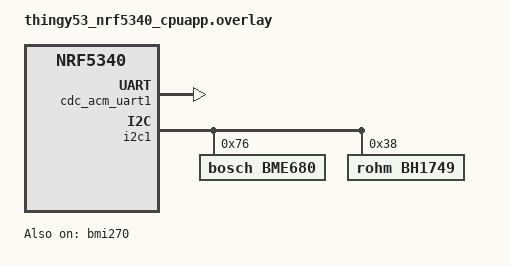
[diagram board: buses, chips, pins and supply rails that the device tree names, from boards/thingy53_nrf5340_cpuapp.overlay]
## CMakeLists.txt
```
#
# Copyright (c) 2018 Nordic Semiconductor
#
# SPDX-License-Identifier: LicenseRef-Nordic-5-Clause
#
cmake_minimum_required(VERSION 3.20.0)

find_package(Zephyr REQUIRED HINTS $ENV{ZEPHYR_BASE})
project(NONE)

# NORDIC SDK APP START
target_sources(app PRIVATE
  src/main.c
  src/bme_sensor.c
  src/bh1749.c
  src/bmi270.c
  src/adxl362.c
)

# NORDIC SDK APP END
```

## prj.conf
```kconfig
#
# Copyright (c) 2018 Nordic Semiconductor
# SPDX-License-Identifier: LicenseRef-Nordic-5-Clause
#

# ================= UART / CONSOLE =================
CONFIG_SERIAL=y
CONFIG_CONSOLE=y
CONFIG_UART_CONSOLE=y
CONFIG_UART_ASYNC_API=y
CONFIG_NRFX_UARTE0=y

# ================= GPIO =================
CONFIG_GPIO=y

# ================= Memory =================
CONFIG_HEAP_MEM_POOL_SIZE=2048
CONFIG_SYSTEM_WORKQUEUE_STACK_SIZE=4096

# ================= Bluetooth Low Energy (BLE) =================
CONFIG_BT=y
CONFIG_BT_PERIPHERAL=y
CONFIG_BT_DEVICE_NAME="left_insole"
CONFIG_BT_NUS=y

# ================= Bluetooth Settings & Storage =================
CONFIG_BT_SETTINGS=y
CONFIG_SETTINGS=y
CONFIG_FLASH=y
CONFIG_FLASH_PAGE_LAYOUT=y
CONFIG_FLASH_MAP=y

# ================= DK Library (Buttons/LEDs) =================
CONFIG_DK_LIBRARY=y

# ================= Logging (RTT Backend) =================
CONFIG_LOG=y
CONFIG_LOG_BACKEND_UART=n
CONFIG_LOG_PRINTK=y
CONFIG_USE_SEGGER_RTT=y
CONFIG_LOG_BACKEND_RTT=y
CONFIG_ASSERT=y

# ================= MCUboot & MCUmgr (DFU/OTA) =================
CONFIG_BOOTLOADER_MCUBOOT=y
CONFIG_IS_BOOTLOADER=y
CONFIG_MCUMGR=y
CONFIG_MCUMGR_TRANSPORT_BT=y
CONFIG_MCUMGR_LOG_LEVEL_DBG=y
CONFIG_IMG_MANAGER=y
CONFIG_MCUMGR_GRP_IMG=y
CONFIG_MCUMGR_GRP_OS=y

# ================= Sensors - I2C =================
CONFIG_I2C=y
CONFIG_SENSOR=y
CONFIG_BME680=y
CONFIG_BH1749=y
CONFIG_BH1749_TRIGGER=y

# ================= Sensors - SPI (ADXL362) =================
CONFIG_SPI_RTIO=y
CONFIG_SENSOR_ASYNC_API=y
CONFIG_ADXL362_STREAM=y
CONFIG_ADXL362_ACCEL_ODR_400=y

# ================= Build Configuration =================
CONFIG_BUILD_OUTPUT_META=n
```

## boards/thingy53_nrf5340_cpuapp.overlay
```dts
/*
 * Copyright (c) 2021 Nordic Semiconductor ASA
 *
 * SPDX-License-Identifier: LicenseRef-Nordic-5-Clause
 */

/ {
	chosen {
		nordic,nus-uart = &cdc_acm_uart1;
	};
};

&zephyr_udc0 {
	cdc_acm_uart1: cdc_acm_uart1 {
		compatible = "zephyr,cdc-acm-uart";
	};
};

&i2c1 {
	status = "okay";

	bme680: bme680@76 {
		compatible = "bosch,bme680";
		reg = <0x76>;
		status = "okay";
	};

	bh1749: bh1749@38 {
		compatible = "rohm,bh1749";
		reg = <0x38>;
		status = "okay";
	};
};

/* Enable BMI270 sensor on SPI (already defined in base device tree) */
&bmi270 {
	status = "okay";
};
```

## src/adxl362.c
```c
/*
 * Copyright (c) 2022 TOKITA Hiroshi <tokita.hiroshi@fujitsu.com
 *
 * SPDX-License-Identifier: Apache-2.0
 */

#include "adxl362.h"
#include <zephyr/kernel.h>
#include <zephyr/device.h>
#include <zephyr/devicetree.h>
#include <zephyr/drivers/sensor.h>
#include <zephyr/logging/log.h>
#include <stdio.h>

LOG_MODULE_REGISTER(adxl362_sensor, LOG_LEVEL_INF);

/* Sample interval in milliseconds */
#define ADXL362_SAMPLE_INTERVAL_MS 8000

/* Check if ADXL362 sensor is available in device tree */
#if DT_HAS_COMPAT_STATUS_OKAY(adi_adxl362)
#define ADXL362_SENSOR_AVAILABLE 1
#else
#define ADXL362_SENSOR_AVAILABLE 0
#endif

#if ADXL362_SENSOR_AVAILABLE

static const struct device *adxl362_dev;
static adxl362_sensor_ble_send_cb ble_send_callback;

void adxl362_sensor_set_ble_callback(adxl362_sensor_ble_send_cb callback)
{
	ble_send_callback = callback;
}

int adxl362_sensor_init(void)
{
	int ret;
	struct sensor_value odr;

	adxl362_dev = DEVICE_DT_GET_ONE(adi_adxl362);

	if (!device_is_ready(adxl362_dev)) {
		LOG_ERR("ADXL362 sensor not ready");
		printk("ADXL362 sensor not ready\n");
		return -ENODEV;
	}

	/* Set sampling frequency */
	ret = sensor_attr_get(adxl362_dev, SENSOR_CHAN_ACCEL_XYZ, SENSOR_ATTR_SAMPLING_FREQUENCY, &odr);

	/* If we don't get a frequency > 0, we set one */
	if (ret != 0 || (odr.val1 == 0 && odr.val2 == 0)) {
		odr.val1 = 100;
		odr.val2 = 0;

		ret = sensor_attr_set(adxl362_dev, SENSOR_CHAN_ACCEL_XYZ, SENSOR_ATTR_SAMPLING_FREQUENCY, &odr);

		if (ret != 0) {
			LOG_WRN("Failed to set sampling frequency");
		}
	}

	LOG_INF("ADXL362 accelerometer sensor initialized successfully");
	printk("ADXL362 sensor initialized: %s\n", adxl362_dev->name);
	return 0;
}

int adxl362_sensor_read(struct adxl362_sensor_data *data)
{
	int ret;

	if (!adxl362_dev) {
		printk("❌ ADXL362 sensor not initialized\n");
		return -EINVAL;
	}

	if (!data) {
		return -EINVAL;
	}

	/* Fetch all sensor data */
	ret = sensor_sample_fetch(adxl362_dev);
	if (ret) {
		LOG_ERR("Failed to fetch sensor data: %d", ret);
		return ret;
	}

	/* Read accelerometer X axis */
	ret = sensor_channel_get(adxl362_dev, SENSOR_CHAN_ACCEL_X, &data->accel_x);
	if (ret) {
		LOG_ERR("Failed to get ACCEL_X: %d", ret);
		return ret;
	}

	/* Read accelerometer Y axis */
	ret = sensor_channel_get(adxl362_dev, SENSOR_CHAN_ACCEL_Y, &data->accel_y);
	if (ret) {
		LOG_ERR("Failed to get ACCEL_Y: %d", ret);
		return ret;
	}

	/* Read accelerometer Z axis */
	ret = sensor_channel_get(adxl362_dev, SENSOR_CHAN_ACCEL_Z, &data->accel_z);
	if (ret) {
		LOG_ERR("Failed to get ACCEL_Z: %d", ret);
		return ret;
	}

	return 0;
}

void adxl362_sensor_log_data(const struct adxl362_sensor_data *data)
{
	if (!data) {
		return;
	}

	printk("ADXL362: X=%d.%02d Y=%d.%02d Z=%d.%02d m/s^2\n",
		data->accel_x.val1, abs(data->accel_x.val2 / 10000),
		data->accel_y.val1, abs(data->accel_y.val2 / 10000),
		data->accel_z.val1, abs(data->accel_z.val2 / 10000));
}

int adxl362_sensor_start(void)
{
	int ret;

	if (!adxl362_dev) {
		printk("ADXL362 sensor not initialized\n");
		return -EINVAL;
	}

	LOG_INF("Starting ADXL362 sensor");
	printk("Starting ADXL362 accelerometer sensor thread...\n");

	/* Initial delay to allow sensor stabilization */
	k_sleep(K_SECONDS(2));
	printk("ADXL362 sensor stabilization complete\n");

	LOG_INF("ADXL362 sensor running in polling mode");
	printk("ADXL362 sensor running in polling mode (8s interval)\n");
	
	while (1) {
		struct adxl362_sensor_data data;

		printk("Reading ADXL362 accelerometer data...\n");
		if (adxl362_sensor_read(&data) == 0) {
			printk("Sensor read successful, logging/sending...\n");
			/* Log sensor data to console */
			adxl362_sensor_log_data(&data);

			/* Send data over BLE if callback is registered */
			if (ble_send_callback) {
				char ble_msg[128];
				int len = snprintf(ble_msg, sizeof(ble_msg),
					"X:%d.%02d Y:%d.%02d Z:%d.%02d m/s^2\n",
					data.accel_x.val1, abs(data.accel_x.val2 / 10000),
					data.accel_y.val1, abs(data.accel_y.val2 / 10000),
					data.accel_z.val1, abs(data.accel_z.val2 / 10000));
				
				if (len > 0 && len < sizeof(ble_msg)) {
					ble_send_callback((const uint8_t *)ble_msg, len);
				}
			}
		} else {
			printk("Sensor read failed\n");
		}

		k_sleep(K_MSEC(ADXL362_SAMPLE_INTERVAL_MS));
	}

	return 0;
}

#else /* !ADXL362_SENSOR_AVAILABLE */

/* Stub implementations when sensor is not available */

void adxl362_sensor_set_ble_callback(adxl362_sensor_ble_send_cb callback)
{
	ARG_UNUSED(callback);
}

int adxl362_sensor_init(void)
{
	LOG_WRN("ADXL362 sensor not available in device tree");
	return -ENOTSUP;
}

int adxl362_sensor_read(struct adxl362_sensor_data *data)
{
	ARG_UNUSED(data);
	return -ENOTSUP;
}

void adxl362_sensor_log_data(const struct adxl362_sensor_data *data)
{
	ARG_UNUSED(data);
}

int adxl362_sensor_start(void)
{
	LOG_WRN("ADXL362 sensor not available");
	return -ENOTSUP;
}

#endif /* ADXL362_SENSOR_AVAILABLE */
```

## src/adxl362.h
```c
/*
 * Copyright (c) 2023 Nordic Semiconductor ASA.
 *
 * SPDX-License-Identifier: LicenseRef-Nordic-5-Clause
 */

#ifndef ADXL362_SENSOR_H_
#define ADXL362_SENSOR_H_

#include <zephyr/device.h>
#include <zephyr/drivers/sensor.h>

/**
 * @brief Structure to hold all ADXL362 sensor readings (3-axis accelerometer)
 */
struct adxl362_sensor_data {
	struct sensor_value accel_x;
	struct sensor_value accel_y;
	struct sensor_value accel_z;
};

/**
 * @brief Callback function type for sending sensor data via BLE
 * 
 * @param data Pointer to buffer containing formatted sensor data
 * @param len Length of data to send
 * @return 0 on success, negative error code on failure
 */
typedef int (*adxl362_sensor_ble_send_cb)(const uint8_t *data, uint16_t len);

/**
 * @brief Set the BLE send callback function
 * 
 * @param callback Function to call when sending data via BLE
 */
void adxl362_sensor_set_ble_callback(adxl362_sensor_ble_send_cb callback);

/**
 * @brief Initialize the ADXL362 accelerometer sensor
 * 
 * @return 0 on success, negative error code on failure
 */
int adxl362_sensor_init(void);

/**
 * @brief Read all sensor data from the ADXL362
 * 
 * @param data Pointer to structure to store sensor readings
 * @return 0 on success, negative error code on failure
 */
int adxl362_sensor_read(struct adxl362_sensor_data *data);

/**
 * @brief Log all sensor data
 * 
 * @param data Pointer to sensor data to log
 */
void adxl362_sensor_log_data(const struct adxl362_sensor_data *data);

/**
 * @brief Start the ADXL362 sensor operation
 * 
 * This function will block and continuously read sensor data at regular intervals.
 * It should be called from a dedicated thread.
 * 
 * @return 0 on success, negative error code on failure
 */
int adxl362_sensor_start(void);

#endif /* ADXL362_SENSOR_H_ */
```

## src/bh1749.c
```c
/*
 * Copyright (c) 2019 Nordic Semiconductor ASA.
 *
 * SPDX-License-Identifier: LicenseRef-Nordic-5-Clause
 */

#include "bh1749.h"
#include <zephyr/kernel.h>
#include <zephyr/device.h>
#include <zephyr/devicetree.h>
#include <zephyr/drivers/sensor.h>
#include <zephyr/logging/log.h>
#include <stdio.h>

LOG_MODULE_REGISTER(bh1749_sensor, LOG_LEVEL_INF);

/* Sample interval in milliseconds */
#define BH1749_SAMPLE_INTERVAL_MS 14000

/* Check if BH1749 sensor is available in device tree */
#if DT_HAS_COMPAT_STATUS_OKAY(rohm_bh1749)
#define BH1749_SENSOR_AVAILABLE 1
#else
#define BH1749_SENSOR_AVAILABLE 0
#endif

#if BH1749_SENSOR_AVAILABLE

static const struct device *bh1749_dev;
static bh1749_sensor_ble_send_cb ble_send_callback;

void bh1749_sensor_set_ble_callback(bh1749_sensor_ble_send_cb callback)
{
	ble_send_callback = callback;
}

int bh1749_sensor_init(void)
{
	bh1749_dev = DEVICE_DT_GET_ONE(rohm_bh1749);

	if (!device_is_ready(bh1749_dev)) {
		LOG_ERR("BH1749 sensor not ready");
		printk("BH1749 sensor not ready\n");
		return -ENODEV;
	}

	LOG_INF("BH1749 color sensor initialized successfully");
	printk("BH1749 sensor initialized: %s\n", bh1749_dev->name);
	return 0;
}

int bh1749_sensor_read(struct bh1749_sensor_data *data)
{
	int ret;

	if (!bh1749_dev) {
		printk("BH1749 sensor not initialized\n");
		return -EINVAL;
	}

	if (!data) {
		return -EINVAL;
	}

	/* Fetch all sensor data */
	ret = sensor_sample_fetch_chan(bh1749_dev, SENSOR_CHAN_ALL);
	if (ret) {
		LOG_ERR("Failed to fetch sensor data: %d", ret);
		return ret;
	}

	/* Read RED channel */
	ret = sensor_channel_get(bh1749_dev, SENSOR_CHAN_RED, &data->red);
	if (ret) {
		LOG_ERR("Failed to get RED channel: %d", ret);
		return ret;
	}

	/* Read GREEN channel */
	ret = sensor_channel_get(bh1749_dev, SENSOR_CHAN_GREEN, &data->green);
	if (ret) {
		LOG_ERR("Failed to get GREEN channel: %d", ret);
		return ret;
	}

	/* Read BLUE channel */
	ret = sensor_channel_get(bh1749_dev, SENSOR_CHAN_BLUE, &data->blue);
	if (ret) {
		LOG_ERR("Failed to get BLUE channel: %d", ret);
		return ret;
	}

	/* Read IR channel */
	ret = sensor_channel_get(bh1749_dev, SENSOR_CHAN_IR, &data->ir);
	if (ret) {
		LOG_ERR("Failed to get IR channel: %d", ret);
		return ret;
	}

	return 0;
}

void bh1749_sensor_log_data(const struct bh1749_sensor_data *data)
{
	if (!data) {
		return;
	}

	printk("BH1749: R=%d, G=%d, B=%d, IR=%d\n",
		data->red.val1,
		data->green.val1,
		data->blue.val1,
		data->ir.val1);
}

int bh1749_sensor_start(void)
{
	int ret;

	if (!bh1749_dev) {
		printk("BH1749 sensor not initialized\n");
		return -EINVAL;
	}

	LOG_INF("Starting BH1749 sensor");
	printk("Starting BH1749 color sensor thread...\n");

	/* Initial delay to allow sensor stabilization */
	k_sleep(K_SECONDS(2));
	printk("BH1749 sensor stabilization complete\n");

	LOG_INF("BH1749 sensor running in polling mode");
	printk("BH1749 sensor running in polling mode (10s interval)\n");
	
	while (1) {
		struct bh1749_sensor_data data;

		printk("Reading BH1749 color sensor data...\n");
		if (bh1749_sensor_read(&data) == 0) {
			printk("Sensor read successful, logging/sending...\n");
			/* Log sensor data to console */
			bh1749_sensor_log_data(&data);

			/* Send data over BLE if callback is registered */
			if (ble_send_callback) {
				char ble_msg[128];
				int len = snprintf(ble_msg, sizeof(ble_msg),
					"R:%d G:%d B:%d IR:%d\n",
					data.red.val1,
					data.green.val1,
					data.blue.val1,
					data.ir.val1);
				
				if (len > 0 && len < sizeof(ble_msg)) {
					ble_send_callback((const uint8_t *)ble_msg, len);
				}
			}
		} else {
			printk("Sensor read failed\n");
		}

		k_sleep(K_MSEC(BH1749_SAMPLE_INTERVAL_MS));
	}

	return 0;
}

#else /* !BH1749_SENSOR_AVAILABLE */

/* Stub implementations when sensor is not available */

void bh1749_sensor_set_ble_callback(bh1749_sensor_ble_send_cb callback)
{
	ARG_UNUSED(callback);
}

int bh1749_sensor_init(void)
{
	LOG_WRN("BH1749 sensor not available in device tree");
	return -ENOTSUP;
}

int bh1749_sensor_read(struct bh1749_sensor_data *data)
{
	ARG_UNUSED(data);
	return -ENOTSUP;
}

void bh1749_sensor_log_data(const struct bh1749_sensor_data *data)
{
	ARG_UNUSED(data);
}

int bh1749_sensor_start(void)
{
	LOG_WRN("BH1749 sensor not available");
	return -ENOTSUP;
}

#endif /* BH1749_SENSOR_AVAILABLE */
```

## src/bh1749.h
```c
/*
 * Copyright (c) 2023 Nordic Semiconductor ASA.
 *
 * SPDX-License-Identifier: LicenseRef-Nordic-5-Clause
 */

#ifndef BH1749_SENSOR_H_
#define BH1749_SENSOR_H_

#include <zephyr/device.h>
#include <zephyr/drivers/sensor.h>

/**
 * @brief Structure to hold all BH1749 color sensor readings
 */
struct bh1749_sensor_data {
	struct sensor_value red;
	struct sensor_value green;
	struct sensor_value blue;
	struct sensor_value ir;
};

/**
 * @brief Callback function type for sending sensor data via BLE
 * 
 * @param data Pointer to buffer containing formatted sensor data
 * @param len Length of data to send
 * @return 0 on success, negative error code on failure
 */
typedef int (*bh1749_sensor_ble_send_cb)(const uint8_t *data, uint16_t len);

/**
 * @brief Set the BLE send callback function
 * 
 * @param callback Function to call when sending data via BLE
 */
void bh1749_sensor_set_ble_callback(bh1749_sensor_ble_send_cb callback);

/**
 * @brief Initialize the BH1749 color sensor
 * 
 * @return 0 on success, negative error code on failure
 */
int bh1749_sensor_init(void);

/**
 * @brief Read all sensor data from the BH1749
 * 
 * @param data Pointer to structure to store sensor readings
 * @return 0 on success, negative error code on failure
 */
int bh1749_sensor_read(struct bh1749_sensor_data *data);

/**
 * @brief Log all sensor data
 * 
 * @param data Pointer to sensor data to log
 */
void bh1749_sensor_log_data(const struct bh1749_sensor_data *data);

/**
 * @brief Start the BH1749 sensor operation
 * 
 * This function will block and continuously read sensor data at regular intervals.
 * It should be called from a dedicated thread.
 * 
 * @return 0 on success, negative error code on failure
 */
int bh1749_sensor_start(void);

#endif /* BH1749_SENSOR_H_ */
```

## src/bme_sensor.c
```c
/*
 * Copyright (c) 2023 Nordic Semiconductor ASA.
 *
 * SPDX-License-Identifier: LicenseRef-Nordic-5-Clause
 */

#include "bme_sensor.h"
#include <zephyr/kernel.h>
#include <zephyr/device.h>
#include <zephyr/drivers/sensor.h>
#include <stdio.h>
#include <zephyr/sys/__assert.h>

#include <zephyr/logging/log.h>
LOG_MODULE_REGISTER(bme_sensor, LOG_LEVEL_INF);

/* Check if BME680 device exists in device tree */
#if DT_HAS_COMPAT_STATUS_OKAY(bosch_bme680)
/* Standard Zephyr BME680 driver */
#define BME_SENSOR_AVAILABLE 1
#define USE_STANDARD_DRIVER 1
#else
#define BME_SENSOR_AVAILABLE 0
#define USE_STANDARD_DRIVER 0
#endif

#if BME_SENSOR_AVAILABLE
/* Private variables */
static const struct device *bme_dev;
static bme_sensor_ble_send_cb ble_send_callback = NULL;

#define BME_SAMPLE_INTERVAL_MS 10000  /* 10 seconds */

void bme_sensor_set_ble_callback(bme_sensor_ble_send_cb callback)
{
	ble_send_callback = callback;
}

int bme_sensor_read(struct bme_sensor_data *data)
{
	int ret;

	if (!data || !bme_dev) {
		return -EINVAL;
	}

	ret = sensor_sample_fetch(bme_dev);
	if (ret) {
		LOG_ERR("Failed to fetch sample: %d", ret);
		return ret;
	}

	sensor_channel_get(bme_dev, SENSOR_CHAN_AMBIENT_TEMP, &data->temperature);
	sensor_channel_get(bme_dev, SENSOR_CHAN_PRESS, &data->pressure);
	sensor_channel_get(bme_dev, SENSOR_CHAN_HUMIDITY, &data->humidity);
	
#if USE_STANDARD_DRIVER
	/* Standard driver doesn't support IAQ, CO2, VOC - set to zero */
	data->iaq.val1 = 0;
	data->iaq.val2 = 0;
	data->co2.val1 = 0;
	data->co2.val2 = 0;
	data->voc.val1 = 0;
	data->voc.val2 = 0;
	sensor_channel_get(bme_dev, SENSOR_CHAN_GAS_RES, &data->voc); /* Gas resistance */
#else
	sensor_channel_get(bme_dev, SENSOR_CHAN_IAQ, &data->iaq);
	sensor_channel_get(bme_dev, SENSOR_CHAN_CO2, &data->co2);
	sensor_channel_get(bme_dev, SENSOR_CHAN_VOC, &data->voc);
#endif

	return 0;
}

void bme_sensor_log_data(const struct bme_sensor_data *data)
{
	if (!data) {
		return;
	}

#if USE_STANDARD_DRIVER
	printf("BME680: T=%d.%02dC, P=%d.%02dhPa, H=%d.%02d%%, Gas=%dOhms\n",
		data->temperature.val1, data->temperature.val2 / 10000,
		data->pressure.val1, data->pressure.val2 / 10000,
		data->humidity.val1, data->humidity.val2 / 10000,
		data->voc.val1);
#else
	printf("BME680: T=%d.%02dC, P=%d.%02dhPa, H=%d.%02d%%, IAQ=%d, CO2=%dppm, VOC=%dppb\n",
		data->temperature.val1, data->temperature.val2 / 10000,
		data->pressure.val1, data->pressure.val2 / 10000,
		data->humidity.val1, data->humidity.val2 / 10000,
		data->iaq.val1,
		data->co2.val1,
		data->voc.val1);
#endif
}

#if defined(CONFIG_APP_TRIGGER)
const struct sensor_trigger trig = {
	.chan = SENSOR_CHAN_ALL,
	.type = SENSOR_TRIG_TIMER,
};

static void trigger_handler(const struct device *dev, const struct sensor_trigger *trig)
{
	struct bme_sensor_data data;

	if (bme_sensor_read(&data) == 0) {
		bme_sensor_log_data(&data);
	}
}
#endif /* defined(CONFIG_APP_TRIGGER) */

int bme_sensor_init(void)
{
	bme_dev = DEVICE_DT_GET_ANY(bosch_bme680);

	if (bme_dev == NULL) {
		LOG_ERR("No BME680 device found");
		return -ENODEV;
	}

	if (!device_is_ready(bme_dev)) {
		LOG_ERR("BME680 device is not ready");
		return -ENODEV;
	}

	LOG_INF("BME680 sensor initialized successfully");
	return 0;
}

int bme_sensor_start(void)
{
	int ret;

	if (!bme_dev) {
		LOG_ERR("Sensor not initialized");
		printf("BME sensor not initialized\n");
		return -EINVAL;
	}

	LOG_INF("Starting BME sensor");
	printf("Starting BME sensor thread...\n");

	/* Initial delay to allow sensor stabilization */
	k_sleep(K_SECONDS(5));
	printf("BME sensor stabilization complete\n");

#if defined(CONFIG_APP_TRIGGER)
	ret = sensor_trigger_set(bme_dev, &trig, trigger_handler);
	if (ret) {
		LOG_ERR("Failed to set trigger: %d", ret);
		return ret;
	}
	LOG_INF("BME sensor running in trigger mode");
#else
	LOG_INF("BME sensor running in polling mode");
	printf("BME sensor running in polling mode (10s interval)\n");
	while (1) {
		struct bme_sensor_data data;

		printf("Reading BME sensor data...\n");
		if (bme_sensor_read(&data) == 0) {
			printf("Sensor read successful, logging/sending...\n");
			/* Log sensor data to console */
			bme_sensor_log_data(&data);

			/* Send data over BLE if callback is registered */
			if (ble_send_callback) {
				char ble_msg[128];
				int len = snprintf(ble_msg, sizeof(ble_msg),
					"T:%d.%02dC P:%d.%02dhPa H:%d.%02d%% Gas:%luOhms\n",
					data.temperature.val1, abs(data.temperature.val2 / 10000),
					data.pressure.val1, abs(data.pressure.val2 / 10000),
					data.humidity.val1, abs(data.humidity.val2 / 10000),
					(unsigned long)data.gas_resistance.val1);
				
				if (len > 0 && len < sizeof(ble_msg)) {
					ble_send_callback((const uint8_t *)ble_msg, len);
				}
			}
		} else {
			printf("Sensor read failed\n");
		}

		k_sleep(K_MSEC(BME_SAMPLE_INTERVAL_MS));
	}
#endif /* defined(CONFIG_APP_TRIGGER) */

	return 0;
}

#else /* !BME_SENSOR_AVAILABLE */

void bme_sensor_set_ble_callback(bme_sensor_ble_send_cb callback)
{
	/* Do nothing */
}

int bme_sensor_init(void)
{
	printf("BME680 sensor not available in device tree\n");
	LOG_WRN("BME680 sensor not available in device tree");
	return -ENOTSUP;
}

int bme_sensor_start(void)
{
	printf("BME680 sensor not available - skipping\n");
	LOG_WRN("BME680 sensor not available");
	return -ENOTSUP;
}

int bme_sensor_read(struct bme_sensor_data *data)
{
	return -ENOTSUP;
}

void bme_sensor_log_data(const struct bme_sensor_data *data)
{
	/* Do nothing */
}

#endif /* BME_SENSOR_AVAILABLE */
```

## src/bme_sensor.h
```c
/*
 * Copyright (c) 2023 Nordic Semiconductor ASA.
 *
 * SPDX-License-Identifier: LicenseRef-Nordic-5-Clause
 */

#ifndef BME_SENSOR_H_
#define BME_SENSOR_H_

#include <zephyr/device.h>
#include <zephyr/drivers/sensor.h>

/**
 * @brief Structure to hold all BME680 sensor readings
 */
struct bme_sensor_data {
	struct sensor_value temperature;
	struct sensor_value pressure;
	struct sensor_value humidity;
	struct sensor_value iaq;
	struct sensor_value co2;
	struct sensor_value voc;
    struct sensor_value gas_resistance;
};

/**
 * @brief Callback function type for sending sensor data via BLE
 * 
 * @param data Pointer to buffer containing formatted sensor data
 * @param len Length of data to send
 * @return 0 on success, negative error code on failure
 */
typedef int (*bme_sensor_ble_send_cb)(const uint8_t *data, uint16_t len);

/**
 * @brief Set the BLE send callback function
 * 
 * @param callback Function to call when sending data via BLE
 */
void bme_sensor_set_ble_callback(bme_sensor_ble_send_cb callback);

/**
 * @brief Initialize the BME680 sensor
 * 
 * @return 0 on success, negative error code on failure
 */
int bme_sensor_init(void);

/**
 * @brief Read all sensor data from the BME680
 * 
 * @param data Pointer to structure to store sensor readings
 * @return 0 on success, negative error code on failure
 */
int bme_sensor_read(struct bme_sensor_data *data);

/**
 * @brief Log all sensor data
 * 
 * @param data Pointer to sensor data to log
 */
void bme_sensor_log_data(const struct bme_sensor_data *data);

/**
 * @brief Start the BME sensor thread/task
 * 
 * @return 0 on success, negative error code on failure
 */
int bme_sensor_start(void);

#endif /* BME_SENSOR_H_ */
```

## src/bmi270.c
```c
/*
 * Copyright (c) 2021 Bosch Sensortec GmbH
 *
 * SPDX-License-Identifier: Apache-2.0
 */

#include "bmi270.h"
#include <zephyr/kernel.h>
#include <zephyr/device.h>
#include <zephyr/devicetree.h>
#include <zephyr/drivers/sensor.h>
#include <zephyr/logging/log.h>
#include <stdio.h>

LOG_MODULE_REGISTER(bmi270_sensor, LOG_LEVEL_INF);

/* Sample interval in milliseconds */
#define BMI270_SAMPLE_INTERVAL_MS 6000

/* Check if BMI270 sensor is available in device tree */
#if DT_HAS_COMPAT_STATUS_OKAY(bosch_bmi270)
#define BMI270_SENSOR_AVAILABLE 1
#else
#define BMI270_SENSOR_AVAILABLE 0
#endif

#if BMI270_SENSOR_AVAILABLE

static const struct device *bmi270_dev;
static bmi270_sensor_ble_send_cb ble_send_callback;

void bmi270_sensor_set_ble_callback(bmi270_sensor_ble_send_cb callback)
{
	ble_send_callback = callback;
}

int bmi270_sensor_init(void)
{
	int ret;
	struct sensor_value full_scale, sampling_freq, oversampling;

	bmi270_dev = DEVICE_DT_GET_ONE(bosch_bmi270);

	if (!device_is_ready(bmi270_dev)) {
		LOG_ERR("BMI270 sensor not ready");
		printk("BMI270 sensor not ready\n");
		return -ENODEV;
	}

	/* Configure accelerometer: 2G range, 100Hz, normal mode */
	full_scale.val1 = 2; /* G */
	full_scale.val2 = 0;
	sampling_freq.val1 = 100; /* Hz */
	sampling_freq.val2 = 0;
	oversampling.val1 = 1; /* Normal mode */
	oversampling.val2 = 0;

	sensor_attr_set(bmi270_dev, SENSOR_CHAN_ACCEL_XYZ, SENSOR_ATTR_FULL_SCALE, &full_scale);
	sensor_attr_set(bmi270_dev, SENSOR_CHAN_ACCEL_XYZ, SENSOR_ATTR_OVERSAMPLING, &oversampling);
	sensor_attr_set(bmi270_dev, SENSOR_CHAN_ACCEL_XYZ, SENSOR_ATTR_SAMPLING_FREQUENCY, &sampling_freq);

	/* Configure gyroscope: 500dps range, 100Hz, normal mode */
	full_scale.val1 = 500; /* dps */
	full_scale.val2 = 0;
	sampling_freq.val1 = 100; /* Hz */
	sampling_freq.val2 = 0;
	oversampling.val1 = 1; /* Normal mode */
	oversampling.val2 = 0;

	sensor_attr_set(bmi270_dev, SENSOR_CHAN_GYRO_XYZ, SENSOR_ATTR_FULL_SCALE, &full_scale);
	sensor_attr_set(bmi270_dev, SENSOR_CHAN_GYRO_XYZ, SENSOR_ATTR_OVERSAMPLING, &oversampling);
	sensor_attr_set(bmi270_dev, SENSOR_CHAN_GYRO_XYZ, SENSOR_ATTR_SAMPLING_FREQUENCY, &sampling_freq);

	LOG_INF("BMI270 IMU sensor initialized successfully");
	printk("BMI270 sensor initialized: %s\n", bmi270_dev->name);
	return 0;
}

int bmi270_sensor_read(struct bmi270_sensor_data *data)
{
	int ret;
	struct sensor_value acc[3], gyr[3];

	if (!bmi270_dev) {
		printk("BMI270 sensor not initialized\n");
		return -EINVAL;
	}

	if (!data) {
		return -EINVAL;
	}

	/* Fetch all sensor data */
	ret = sensor_sample_fetch(bmi270_dev);
	if (ret) {
		LOG_ERR("Failed to fetch sensor data: %d", ret);
		return ret;
	}

	/* Read accelerometer data */
	ret = sensor_channel_get(bmi270_dev, SENSOR_CHAN_ACCEL_XYZ, acc);
	if (ret) {
		LOG_ERR("Failed to get ACCEL data: %d", ret);
		return ret;
	}

	/* Read gyroscope data */
	ret = sensor_channel_get(bmi270_dev, SENSOR_CHAN_GYRO_XYZ, gyr);
	if (ret) {
		LOG_ERR("Failed to get GYRO data: %d", ret);
		return ret;
	}

	/* Copy data to output structure */
	data->accel_x = acc[0];
	data->accel_y = acc[1];
	data->accel_z = acc[2];
	data->gyro_x = gyr[0];
	data->gyro_y = gyr[1];
	data->gyro_z = gyr[2];

	return 0;
}

void bmi270_sensor_log_data(const struct bmi270_sensor_data *data)
{
	if (!data) {
		return;
	}

	printk("BMI270: AX=%d.%02d AY=%d.%02d AZ=%d.%02d GX=%d.%02d GY=%d.%02d GZ=%d.%02d\n",
		data->accel_x.val1, abs(data->accel_x.val2 / 10000),
		data->accel_y.val1, abs(data->accel_y.val2 / 10000),
		data->accel_z.val1, abs(data->accel_z.val2 / 10000),
		data->gyro_x.val1, abs(data->gyro_x.val2 / 10000),
		data->gyro_y.val1, abs(data->gyro_y.val2 / 10000),
		data->gyro_z.val1, abs(data->gyro_z.val2 / 10000));
}

int bmi270_sensor_start(void)
{
	int ret;

	if (!bmi270_dev) {
		printk("BMI270 sensor not initialized\n");
		return -EINVAL;
	}

	LOG_INF("Starting BMI270 sensor");
	printk("Starting BMI270 IMU sensor thread...\n");

	/* Initial delay to allow sensor stabilization */
	k_sleep(K_SECONDS(2));
	printk("BMI270 sensor stabilization complete\n");

	LOG_INF("BMI270 sensor running in polling mode");
	printk("BMI270 sensor running in polling mode (10s interval)\n");
	
	while (1) {
		struct bmi270_sensor_data data;

		printk("Reading BMI270 IMU sensor data...\n");
		if (bmi270_sensor_read(&data) == 0) {
			printk("Sensor read successful, logging/sending...\n");
			/* Log sensor data to console */
			bmi270_sensor_log_data(&data);

			/* Send data over BLE if callback is registered */
			if (ble_send_callback) {
				char ble_msg[256];
				int len = snprintf(ble_msg, sizeof(ble_msg),
					"AX:%d.%02d AY:%d.%02d AZ:%d.%02d GX:%d.%02d GY:%d.%02d GZ:%d.%02d\n",
					data.accel_x.val1, abs(data.accel_x.val2 / 10000),
					data.accel_y.val1, abs(data.accel_y.val2 / 10000),
					data.accel_z.val1, abs(data.accel_z.val2 / 10000),
					data.gyro_x.val1, abs(data.gyro_x.val2 / 10000),
					data.gyro_y.val1, abs(data.gyro_y.val2 / 10000),
					data.gyro_z.val1, abs(data.gyro_z.val2 / 10000));
				
				if (len > 0 && len < sizeof(ble_msg)) {
					ble_send_callback((const uint8_t *)ble_msg, len);
				}
			}
		} else {
			printk("Sensor read failed\n");
		}

		k_sleep(K_MSEC(BMI270_SAMPLE_INTERVAL_MS));
	}

	return 0;
}

#else /* !BMI270_SENSOR_AVAILABLE */

/* Stub implementations when sensor is not available */

void bmi270_sensor_set_ble_callback(bmi270_sensor_ble_send_cb callback)
{
	ARG_UNUSED(callback);
}

int bmi270_sensor_init(void)
{
	LOG_WRN("BMI270 sensor not available in device tree");
	return -ENOTSUP;
}

int bmi270_sensor_read(struct bmi270_sensor_data *data)
{
	ARG_UNUSED(data);
	return -ENOTSUP;
}

void bmi270_sensor_log_data(const struct bmi270_sensor_data *data)
{
	ARG_UNUSED(data);
}

int bmi270_sensor_start(void)
{
	LOG_WRN("BMI270 sensor not available");
	return -ENOTSUP;
}

#endif /* BMI270_SENSOR_AVAILABLE */
```

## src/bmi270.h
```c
/*
 * Copyright (c) 2023 Nordic Semiconductor ASA.
 *
 * SPDX-License-Identifier: LicenseRef-Nordic-5-Clause
 */

#ifndef BMI270_SENSOR_H_
#define BMI270_SENSOR_H_

#include <zephyr/device.h>
#include <zephyr/drivers/sensor.h>

/**
 * @brief Structure to hold all BMI270 sensor readings (accelerometer and gyroscope)
 */
struct bmi270_sensor_data {
	struct sensor_value accel_x;
	struct sensor_value accel_y;
	struct sensor_value accel_z;
	struct sensor_value gyro_x;
	struct sensor_value gyro_y;
	struct sensor_value gyro_z;
};

/**
 * @brief Callback function type for sending sensor data via BLE
 * 
 * @param data Pointer to buffer containing formatted sensor data
 * @param len Length of data to send
 * @return 0 on success, negative error code on failure
 */
typedef int (*bmi270_sensor_ble_send_cb)(const uint8_t *data, uint16_t len);

/**
 * @brief Set the BLE send callback function
 * 
 * @param callback Function to call when sending data via BLE
 */
void bmi270_sensor_set_ble_callback(bmi270_sensor_ble_send_cb callback);

/**
 * @brief Initialize the BMI270 IMU sensor
 * 
 * @return 0 on success, negative error code on failure
 */
int bmi270_sensor_init(void);

/**
 * @brief Read all sensor data from the BMI270
 * 
 * @param data Pointer to structure to store sensor readings
 * @return 0 on success, negative error code on failure
 */
int bmi270_sensor_read(struct bmi270_sensor_data *data);

/**
 * @brief Log all sensor data
 * 
 * @param data Pointer to sensor data to log
 */
void bmi270_sensor_log_data(const struct bmi270_sensor_data *data);

/**
 * @brief Start the BMI270 sensor operation
 * 
 * This function will block and continuously read sensor data at regular intervals.
 * It should be called from a dedicated thread.
 * 
 * @return 0 on success, negative error code on failure
 */
int bmi270_sensor_start(void);

#endif /* BMI270_SENSOR_H_ */
```
